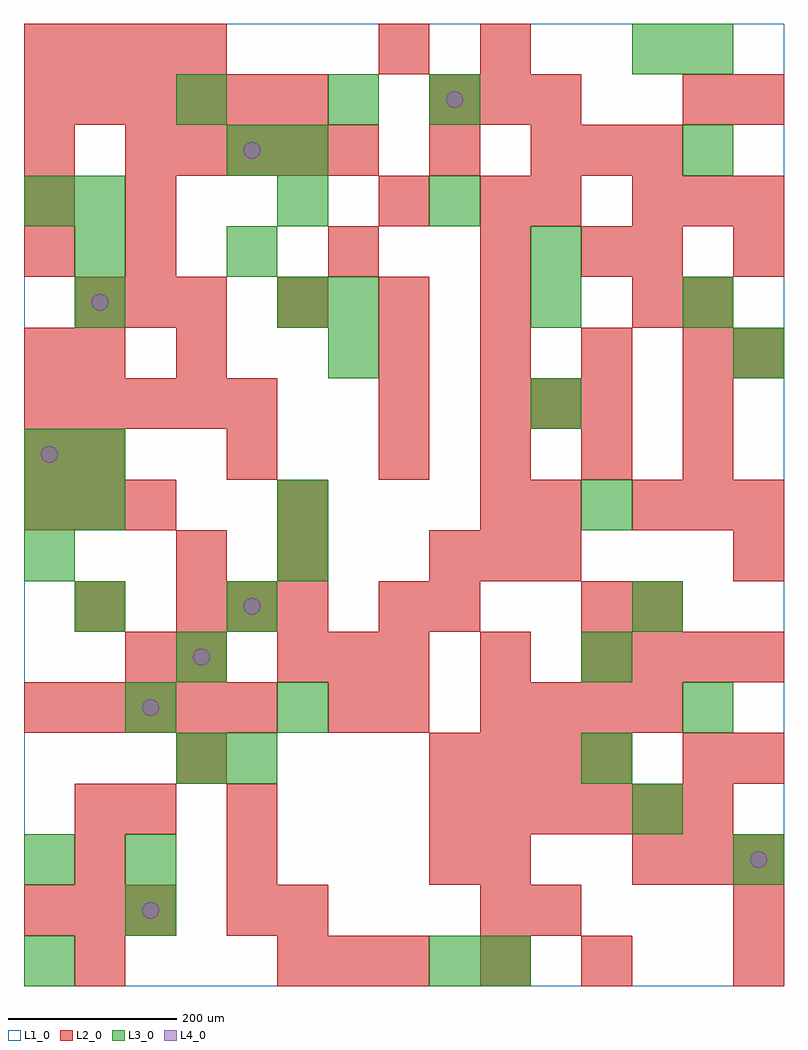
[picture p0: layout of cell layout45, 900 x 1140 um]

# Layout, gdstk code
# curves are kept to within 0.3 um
import gdstk
lib = gdstk.Library(unit=1e-6, precision=1e-09)
def R(c, l, rs):  # rectangles x0, y0, x1, y1
    for r in rs: c.add(gdstk.rectangle(r[:2], r[2:], *l))
def A(c, l, x, y, w, h, nx, ny, dx, dy):  # array of equal rectangles
    R(c, l, [(x+i*dx, y+j*dy, x+i*dx+w, y+j*dy+h) for i in range(nx) for j in range(ny)])
def P(c, l, *ps):  # polygons
    for p in ps: c.add(gdstk.Polygon(p, *l))
L1_0 = (1, 0)
L2_0 = (2, 0)
L3_0 = (3, 0)
L4_0 = (4, 0)

layout45 = lib.new_cell('layout45')
R(layout45, L1_0, [(0,0,900,1140)])
A(layout45, L2_0, 300, 0, 60, 60, 3, 2, 60, 360)
A(layout45, L2_0, 540, 0, 60, 60, 1, 3, 0, 60)
A(layout45, L2_0, 660, 0, 60, 60, 1, 3, 0, 420)
A(layout45, L2_0, 0, 60, 60, 60, 3, 2, 60, 480)
A(layout45, L2_0, 240, 60, 60, 60, 1, 3, 0, 60)
A(layout45, L2_0, 720, 120, 60, 60, 3, 2, 60, 420)
A(layout45, L2_0, 480, 180, 60, 60, 6, 1, 60, 0)
A(layout45, L2_0, 180, 240, 60, 60, 1, 3, 0, 120)
A(layout45, L2_0, 480, 240, 60, 60, 4, 1, 60, 0)
A(layout45, L2_0, 840, 240, 60, 60, 1, 3, 0, 240)
A(layout45, L2_0, 0, 300, 60, 60, 5, 2, 60, 360)
A(layout45, L2_0, 540, 300, 60, 60, 4, 1, 60, 0)
A(layout45, L2_0, 660, 360, 60, 60, 4, 1, 60, 0)
A(layout45, L2_0, 180, 420, 60, 60, 3, 1, 60, 0)
A(layout45, L2_0, 420, 420, 60, 60, 1, 3, 0, 240)
A(layout45, L2_0, 480, 480, 60, 60, 3, 2, 60, 540)
A(layout45, L2_0, 0, 600, 60, 60, 1, 3, 0, 120)
A(layout45, L2_0, 60, 600, 60, 60, 3, 1, 180, 0)
A(layout45, L2_0, 540, 600, 60, 60, 3, 1, 120, 0)
A(layout45, L2_0, 540, 660, 60, 60, 3, 1, 60, 0)
A(layout45, L2_0, 420, 720, 60, 60, 4, 1, 120, 0)
A(layout45, L2_0, 60, 780, 60, 60, 3, 1, 60, 0)
A(layout45, L2_0, 300, 780, 60, 60, 3, 1, 120, 0)
A(layout45, L2_0, 720, 900, 60, 60, 3, 1, 60, 0)
A(layout45, L2_0, 120, 960, 60, 60, 5, 1, 60, 0)
A(layout45, L2_0, 600, 960, 60, 60, 3, 1, 60, 0)
A(layout45, L2_0, 0, 1020, 60, 60, 6, 1, 60, 0)
A(layout45, L2_0, 0, 1080, 60, 60, 4, 1, 60, 0)
R(layout45, L2_0, [(60,0,120,60), (840,0,900,60), (300,60,360,120), (600,60,660,120), (840,60,900,120), (60,120,120,180), (480,120,540,180), (60,180,120,240), (120,180,180,240), (780,240,840,300), (360,300,420,360), (420,300,480,360), (120,360,180,420), (540,360,600,420), (60,420,120,480), (480,420,540,480), (720,420,780,480), (300,480,360,540), (300,540,360,600), (540,540,600,600), (600,540,660,600), (780,660,840,720), (60,720,120,780), (180,720,240,780), (720,780,780,840), (780,780,840,840), (120,840,180,900), (360,840,420,900), (540,840,600,900), (720,840,780,900), (840,840,900,900), (0,900,60,960), (120,900,180,960), (540,900,600,960), (600,900,660,960), (0,960,60,1020), (480,960,540,1020), (780,1020,840,1080), (840,1020,900,1080), (420,1080,480,1140), (540,1080,600,1140)])
A(layout45, L3_0, 0, 480, 60, 60, 1, 3, 0, 60)
A(layout45, L3_0, 60, 780, 60, 60, 1, 3, 0, 60)
R(layout45, L3_0, [(0,0,60,60), (480,0,540,60), (540,0,600,60), (120,60,180,120), (0,120,60,180), (120,120,180,180), (840,120,900,180), (720,180,780,240), (180,240,240,300), (240,240,300,300), (660,240,720,300), (120,300,180,360), (300,300,360,360), (780,300,840,360), (180,360,240,420), (660,360,720,420), (60,420,120,480), (240,420,300,480), (720,420,780,480), (300,480,360,540), (60,540,120,600), (300,540,360,600), (660,540,720,600), (60,600,120,660), (600,660,660,720), (360,720,420,780), (840,720,900,780), (300,780,360,840), (360,780,420,840), (600,780,660,840), (780,780,840,840), (240,840,300,900), (600,840,660,900), (0,900,60,960), (300,900,360,960), (480,900,540,960), (240,960,300,1020), (300,960,360,1020), (780,960,840,1020), (180,1020,240,1080), (360,1020,420,1080), (480,1020,540,1080), (720,1080,780,1140), (780,1080,840,1140)])
P(layout45, L4_0, [(40,630),(39.239,633.827),(37.071,637.071),(33.827,639.239),(30,640),(26.173,639.239),(22.929,637.071),(20.761,633.827),(20,630),(20.761,626.173),(22.929,622.929),(26.173,620.761),(30,620),(33.827,620.761),(37.071,622.929),(39.239,626.173)],
  [(100,810),(99.239,813.827),(97.071,817.071),(93.827,819.239),(90,820),(86.173,819.239),(82.929,817.071),(80.761,813.827),(80,810),(80.761,806.173),(82.929,802.929),(86.173,800.761),(90,800),(93.827,800.761),(97.071,802.929),(99.239,806.173)],
  [(160,90),(159.239,93.827),(157.071,97.071),(153.827,99.239),(150,100),(146.173,99.239),(142.929,97.071),(140.761,93.827),(140,90),(140.761,86.173),(142.929,82.929),(146.173,80.761),(150,80),(153.827,80.761),(157.071,82.929),(159.239,86.173)],
  [(160,330),(159.239,333.827),(157.071,337.071),(153.827,339.239),(150,340),(146.173,339.239),(142.929,337.071),(140.761,333.827),(140,330),(140.761,326.173),(142.929,322.929),(146.173,320.761),(150,320),(153.827,320.761),(157.071,322.929),(159.239,326.173)],
  [(220,390),(219.239,393.827),(217.071,397.071),(213.827,399.239),(210,400),(206.173,399.239),(202.929,397.071),(200.761,393.827),(200,390),(200.761,386.173),(202.929,382.929),(206.173,380.761),(210,380),(213.827,380.761),(217.071,382.929),(219.239,386.173)],
  [(280,450),(279.239,453.827),(277.071,457.071),(273.827,459.239),(270,460),(266.173,459.239),(262.929,457.071),(260.761,453.827),(260,450),(260.761,446.173),(262.929,442.929),(266.173,440.761),(270,440),(273.827,440.761),(277.071,442.929),(279.239,446.173)],
  [(280,990),(279.239,993.827),(277.071,997.071),(273.827,999.239),(270,1000),(266.173,999.239),(262.929,997.071),(260.761,993.827),(260,990),(260.761,986.173),(262.929,982.929),(266.173,980.761),(270,980),(273.827,980.761),(277.071,982.929),(279.239,986.173)],
  [(520,1050),(519.239,1053.827),(517.071,1057.071),(513.827,1059.239),(510,1060),(506.173,1059.239),(502.929,1057.071),(500.761,1053.827),(500,1050),(500.761,1046.173),(502.929,1042.929),(506.173,1040.761),(510,1040),(513.827,1040.761),(517.071,1042.929),(519.239,1046.173)],
  [(880,150),(879.239,153.827),(877.071,157.071),(873.827,159.239),(870,160),(866.173,159.239),(862.929,157.071),(860.761,153.827),(860,150),(860.761,146.173),(862.929,142.929),(866.173,140.761),(870,140),(873.827,140.761),(877.071,142.929),(879.239,146.173)])

lib.write_gds('layout45.gds')
